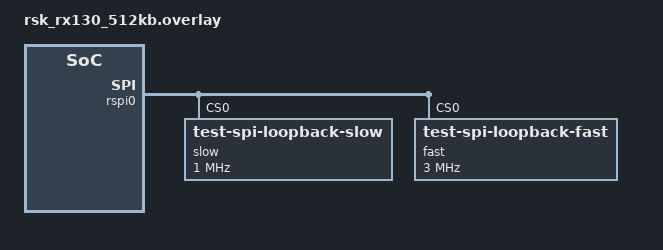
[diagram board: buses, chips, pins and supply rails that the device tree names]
/*
 * Copyright (c) 2025 Renesas Electronics Corporation
 * SPDX-License-Identifier: Apache-2.0
 */

&rspi0 {
	slow@0 {
		compatible = "test-spi-loopback-slow";
		reg = <0>;
		spi-max-frequency = <1000000>;
	};
	fast@0 {
		compatible = "test-spi-loopback-fast";
		reg = <0>;
		spi-max-frequency = <3000000>;
	};
};
